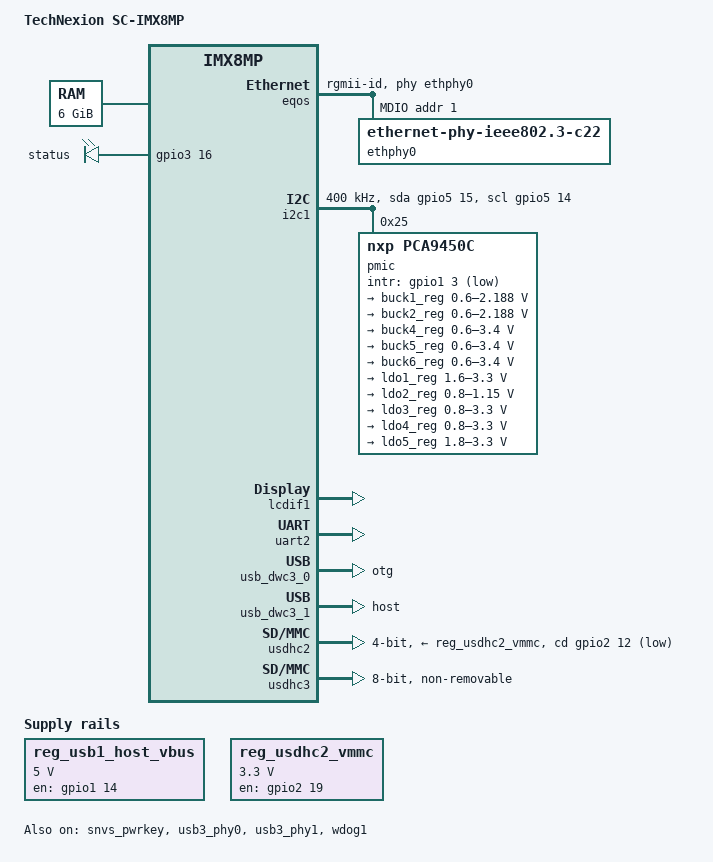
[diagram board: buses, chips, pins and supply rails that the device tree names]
// SPDX-License-Identifier: (GPL-2.0+ OR MIT)
/*
 * Copyright 2019 NXP
 */

/dts-v1/;

#include <dt-bindings/usb/pd.h>
#include "imx8mp.dtsi"

/ {
	model = "TechNexion SC-IMX8MP";
	compatible = "fsl,imx8mp-sc", "fsl,imx8mp";

	chosen {
		bootargs = "console=ttymxc1,115200 earlycon=ec_imx6q,0x30890000,115200";
		stdout-path = &uart2;
	};

	memory@40000000 {
		device_type = "memory";
		reg = <0x0 0x40000000 0 0xc0000000>,
		      <0x1 0x00000000 0 0xc0000000>;
	};

	leds {
		compatible = "gpio-leds";
		pinctrl-names = "default";
		pinctrl-0 = <&pinctrl_gpio_led>;

		status {
			label = "status";
			gpios = <&gpio3 16 GPIO_ACTIVE_HIGH>;
			default-state = "on"; /* LED GREEN */
		};
	};

	reg_usb1_host_vbus: regulator-usb1-vbus {
		compatible = "regulator-fixed";
		regulator-name = "usb1_host_vbus";
		pinctrl-names = "default";
		pinctrl-0 = <&pinctrl_usb1_vbus>;
		regulator-min-microvolt = <5000000>;
		regulator-max-microvolt = <5000000>;
		gpio = <&gpio1 14 GPIO_ACTIVE_HIGH>;
		enable-active-high;
		regulator-always-on;
	};

	reg_usdhc2_vmmc: regulator-usdhc2 {
		compatible = "regulator-fixed";
		pinctrl-names = "default";
		pinctrl-0 = <&pinctrl_reg_usdhc2_vmmc>;
		regulator-name = "VSD_3V3";
		regulator-min-microvolt = <3300000>;
		regulator-max-microvolt = <3300000>;
		gpio = <&gpio2 19 GPIO_ACTIVE_HIGH>;
		enable-active-high;
		startup-delay-us = <100>;
		off-on-delay-us = <12000>;
	};
	
	dsi_host: dsi-host {
		compatible = "samsung,sec-mipi-dsi";
		status = "disabled";
	};
};

&eqos {
	pinctrl-names = "default";
	pinctrl-0 = <&pinctrl_eqos>;
	phy-mode = "rgmii-id";
	phy-handle = <&ethphy0>;
	status = "okay";

	mdio {
		compatible = "snps,dwmac-mdio";
		#address-cells = <1>;
		#size-cells = <0>;

		ethphy0: ethernet-phy@1 {
			compatible = "ethernet-phy-ieee802.3-c22";
			reg = <1>;
			at803x,eee-disabled;
			at803x,vddio-1p8v;
		};
	};
};

&i2c1 {
	clock-frequency = <400000>;
	pinctrl-names = "default", "gpio";
	pinctrl-0 = <&pinctrl_i2c1>;
	pinctrl-1 = <&pinctrl_i2c1_gpio>;
	scl-gpios = <&gpio5 14 GPIO_ACTIVE_HIGH>;
	sda-gpios = <&gpio5 15 GPIO_ACTIVE_HIGH>;
	status = "okay";

	pmic: pca9450@25 {
		reg = <0x25>;
		compatible = "nxp,pca9450c";
		/* PMIC PCA9450 PMIC_nINT GPIO1_IO3 */
		pinctrl-0 = <&pinctrl_pmic>;
		gpio_intr = <&gpio1 3 GPIO_ACTIVE_LOW>;

		regulators {
			#address-cells = <1>;
			#size-cells = <0>;

			pca9450,pmic-buck2-uses-i2c-dvs;
			/* Run/Standby voltage */
			pca9450,pmic-buck2-dvs-voltage = <950000>, <850000>;

			buck1_reg: regulator@0 {
				reg = <0>;
				regulator-compatible = "buck1";
				regulator-min-microvolt = <600000>;
				regulator-max-microvolt = <2187500>;
				regulator-boot-on;
				regulator-always-on;
				regulator-ramp-delay = <3125>;
			};

			buck2_reg: regulator@1 {
				reg = <1>;
				regulator-compatible = "buck2";
				regulator-min-microvolt = <600000>;
				regulator-max-microvolt = <2187500>;
				regulator-boot-on;
				regulator-always-on;
				regulator-ramp-delay = <3125>;
			};

			buck4_reg: regulator@3 {
				reg = <3>;
				regulator-compatible = "buck4";
				regulator-min-microvolt = <600000>;
				regulator-max-microvolt = <3400000>;
				regulator-boot-on;
				regulator-always-on;
			};

			buck5_reg: regulator@4 {
				reg = <4>;
				regulator-compatible = "buck5";
				regulator-min-microvolt = <600000>;
				regulator-max-microvolt = <3400000>;
				regulator-boot-on;
				regulator-always-on;
			};

			buck6_reg: regulator@5 {
				reg = <5>;
				regulator-compatible = "buck6";
				regulator-min-microvolt = <600000>;
				regulator-max-microvolt = <3400000>;
				regulator-boot-on;
				regulator-always-on;
			};

			ldo1_reg: regulator@6 {
				reg = <6>;
				regulator-compatible = "ldo1";
				regulator-min-microvolt = <1600000>;
				regulator-max-microvolt = <3300000>;
				regulator-boot-on;
				regulator-always-on;
			};

			ldo2_reg: regulator@7 {
				reg = <7>;
				regulator-compatible = "ldo2";
				regulator-min-microvolt = <800000>;
				regulator-max-microvolt = <1150000>;
				regulator-boot-on;
				regulator-always-on;
			};

			ldo3_reg: regulator@8 {
				reg = <8>;
				regulator-compatible = "ldo3";
				regulator-min-microvolt = <800000>;
				regulator-max-microvolt = <3300000>;
				regulator-boot-on;
				regulator-always-on;
			};

			ldo4_reg: regulator@9 {
				reg = <9>;
				regulator-compatible = "ldo4";
				regulator-min-microvolt = <800000>;
				regulator-max-microvolt = <3300000>;
				regulator-boot-on;
				regulator-always-on;
			};

			ldo5_reg: regulator@10 {
				reg = <10>;
				regulator-compatible = "ldo5";
				regulator-min-microvolt = <1800000>;
				regulator-max-microvolt = <3300000>;
			};
		};
	};
};

&i2c2 {
	clock-frequency = <400000>;
	pinctrl-names = "default", "gpio";
	pinctrl-0 = <&pinctrl_i2c2>;
	pinctrl-1 = <&pinctrl_i2c2_gpio>;
	scl-gpios = <&gpio5 16 GPIO_ACTIVE_HIGH>;
	sda-gpios = <&gpio5 17 GPIO_ACTIVE_HIGH>;
	status = "disabled";
};

&i2c3 {
	clock-frequency = <100000>;
	pinctrl-names = "default", "gpio";
	pinctrl-0 = <&pinctrl_i2c3>;
	pinctrl-1 = <&pinctrl_i2c3_gpio>;
	scl-gpios = <&gpio5 18 GPIO_ACTIVE_HIGH>;
	sda-gpios = <&gpio5 19 GPIO_ACTIVE_HIGH>;
	status = "disabled";
};

&lcdif1 {
	status = "okay";
};

&mipi_dsi {
	status = "disabled";
};

&snvs_pwrkey {
	status = "okay";
};

&uart2 {
	/* console */
	pinctrl-names = "default";
	pinctrl-0 = <&pinctrl_uart2>;
	status = "okay";
};

&usb3_phy0 {
	status = "okay";
};

&usb_dwc3_0 {
	dr_mode = "otg";
	hnp-disable;
	srp-disable;
	adp-disable;
	usb-role-switch;
	status = "okay";
};

&usb3_phy1 {
	status = "okay";
};

&usb_dwc3_1 {
	dr_mode = "host";
	status = "okay";
};

&usdhc2 {
	pinctrl-names = "default", "state_100mhz", "state_200mhz";
	pinctrl-0 = <&pinctrl_usdhc2>, <&pinctrl_usdhc2_gpio>;
	pinctrl-1 = <&pinctrl_usdhc2_100mhz>, <&pinctrl_usdhc2_gpio>;
	pinctrl-2 = <&pinctrl_usdhc2_200mhz>, <&pinctrl_usdhc2_gpio>;
	cd-gpios = <&gpio2 12 GPIO_ACTIVE_LOW>;
	vmmc-supply = <&reg_usdhc2_vmmc>;
	bus-width = <4>;
	status = "okay";
};

&usdhc3 {
	pinctrl-names = "default", "state_100mhz", "state_200mhz";
	pinctrl-0 = <&pinctrl_usdhc3>;
	pinctrl-1 = <&pinctrl_usdhc3_100mhz>;
	pinctrl-2 = <&pinctrl_usdhc3_200mhz>;
	bus-width = <8>;
	non-removable;
	status = "okay";
};

&wdog1 {
	pinctrl-names = "default";
	pinctrl-0 = <&pinctrl_wdog>;
	fsl,ext-reset-output;
	status = "okay";
};

&iomuxc {
	pinctrl-names = "default";

	pinctrl_eqos: eqosgrp {
		fsl,pins = <
			MX8MP_IOMUXC_ENET_MDC__ENET_QOS_MDC	0x3
			MX8MP_IOMUXC_ENET_MDIO__ENET_QOS_MDIO	0x3
			MX8MP_IOMUXC_ENET_RD0__ENET_QOS_RGMII_RD0	0x91
			MX8MP_IOMUXC_ENET_RD1__ENET_QOS_RGMII_RD1	0x91
			MX8MP_IOMUXC_ENET_RD2__ENET_QOS_RGMII_RD2	0x91
			MX8MP_IOMUXC_ENET_RD3__ENET_QOS_RGMII_RD3	0x91
			MX8MP_IOMUXC_ENET_RXC__CCM_ENET_QOS_CLOCK_GENERATE_RX_CLK	0x91
			MX8MP_IOMUXC_ENET_RX_CTL__ENET_QOS_RGMII_RX_CTL	0x91
			MX8MP_IOMUXC_ENET_TD0__ENET_QOS_RGMII_TD0		0x1f
			MX8MP_IOMUXC_ENET_TD1__ENET_QOS_RGMII_TD1		0x1f
			MX8MP_IOMUXC_ENET_TD2__ENET_QOS_RGMII_TD2		0x1f
			MX8MP_IOMUXC_ENET_TD3__ENET_QOS_RGMII_TD3		0x1f
			MX8MP_IOMUXC_ENET_TX_CTL__ENET_QOS_RGMII_TX_CTL	0x1f
			MX8MP_IOMUXC_ENET_TXC__CCM_ENET_QOS_CLOCK_GENERATE_TX_CLK	0x1f
			MX8MP_IOMUXC_SAI5_RXD1__GPIO3_IO22		0x19
			MX8MP_IOMUXC_SAI5_RXD2__GPIO3_IO23		0x19
		>;
	};

	pinctrl_gpio_led: gpioledgrp {
		fsl,pins = <
			MX8MP_IOMUXC_NAND_READY_B__GPIO3_IO16	0x19
		>;
	};

	pinctrl_i2c1: i2c1grp {
		fsl,pins = <
			MX8MP_IOMUXC_SD1_DATA4__I2C1_SCL		0x400001c3
			MX8MP_IOMUXC_SD1_DATA5__I2C1_SDA		0x400001c3
		>;
	};

	pinctrl_i2c2: i2c2grp {
		fsl,pins = <
			MX8MP_IOMUXC_I2C2_SCL__I2C2_SCL			0x400001c3
			MX8MP_IOMUXC_I2C2_SDA__I2C2_SDA			0x400001c3
		>;
	};

	pinctrl_i2c3: i2c3grp {
		fsl,pins = <
			MX8MP_IOMUXC_I2C3_SCL__I2C3_SCL			0x400001c3
			MX8MP_IOMUXC_I2C3_SDA__I2C3_SDA			0x400001c3
		>;
	};

	pinctrl_i2c1_gpio: i2c1grp-gpio {
		fsl,pins = <
			MX8MP_IOMUXC_SD1_DATA4__GPIO2_IO06        	0x1c3
			MX8MP_IOMUXC_SD1_DATA5__GPIO2_IO07        	0x1c3
		>;
	};

	pinctrl_i2c2_gpio: i2c2grp-gpio {
		fsl,pins = <
			MX8MP_IOMUXC_I2C2_SCL__GPIO5_IO16        	0x1c3
			MX8MP_IOMUXC_I2C2_SDA__GPIO5_IO17        	0x1c3
		>;
	};

	pinctrl_i2c3_gpio: i2c3grp-gpio {
		fsl,pins = <
			MX8MP_IOMUXC_I2C3_SCL__GPIO5_IO18        	0x1c3
			MX8MP_IOMUXC_I2C3_SDA__GPIO5_IO19        	0x1c3
		>;
	};

	pinctrl_pmic: pmicirq {
		fsl,pins = <
			MX8MP_IOMUXC_GPIO1_IO03__GPIO1_IO03	0x41
		>;
	};

	pinctrl_typec: typec1grp {
		fsl,pins = <
			MX8MP_IOMUXC_SAI1_TXD7__GPIO4_IO19	0x1c4
		>;
	};

	pinctrl_typec_mux: typec1muxgrp {
		fsl,pins = <
			MX8MP_IOMUXC_SAI1_MCLK__GPIO4_IO20	0x16
		>;
	};

	pinctrl_reg_usdhc2_vmmc: regusdhc2vmmc {
		fsl,pins = <
			MX8MP_IOMUXC_SD2_RESET_B__GPIO2_IO19	0x41
		>;
	};

	pinctrl_uart2: uart2grp {
		fsl,pins = <
			MX8MP_IOMUXC_UART2_RXD__UART2_DCE_RX	0x49
			MX8MP_IOMUXC_UART2_TXD__UART2_DCE_TX	0x49
		>;
	};

	pinctrl_usb1_vbus: usb1grp {
		fsl,pins = <
			MX8MP_IOMUXC_GPIO1_IO14__GPIO1_IO14	0x19
		>;
	};

	pinctrl_usdhc2: usdhc2grp {
		fsl,pins = <
			MX8MP_IOMUXC_SD2_CLK__USDHC2_CLK	0x190
			MX8MP_IOMUXC_SD2_CMD__USDHC2_CMD	0x1d0
			MX8MP_IOMUXC_SD2_DATA0__USDHC2_DATA0	0x1d0
			MX8MP_IOMUXC_SD2_DATA1__USDHC2_DATA1	0x1d0
			MX8MP_IOMUXC_SD2_DATA2__USDHC2_DATA2	0x1d0
			MX8MP_IOMUXC_SD2_DATA3__USDHC2_DATA3	0x1d0
			MX8MP_IOMUXC_GPIO1_IO04__USDHC2_VSELECT	0xc1
		>;
	};

	pinctrl_usdhc2_100mhz: usdhc2grp-100mhz {
		fsl,pins = <
			MX8MP_IOMUXC_SD2_CLK__USDHC2_CLK	0x194
			MX8MP_IOMUXC_SD2_CMD__USDHC2_CMD	0x1d4
			MX8MP_IOMUXC_SD2_DATA0__USDHC2_DATA0	0x1d4
			MX8MP_IOMUXC_SD2_DATA1__USDHC2_DATA1	0x1d4
			MX8MP_IOMUXC_SD2_DATA2__USDHC2_DATA2	0x1d4
			MX8MP_IOMUXC_SD2_DATA3__USDHC2_DATA3	0x1d4
			MX8MP_IOMUXC_GPIO1_IO04__USDHC2_VSELECT 0xc1
		>;
	};

	pinctrl_usdhc2_200mhz: usdhc2grp-200mhz {
		fsl,pins = <
			MX8MP_IOMUXC_SD2_CLK__USDHC2_CLK	0x196
			MX8MP_IOMUXC_SD2_CMD__USDHC2_CMD	0x1d6
			MX8MP_IOMUXC_SD2_DATA0__USDHC2_DATA0	0x1d6
			MX8MP_IOMUXC_SD2_DATA1__USDHC2_DATA1	0x1d6
			MX8MP_IOMUXC_SD2_DATA2__USDHC2_DATA2	0x1d6
			MX8MP_IOMUXC_SD2_DATA3__USDHC2_DATA3	0x1d6
			MX8MP_IOMUXC_GPIO1_IO04__USDHC2_VSELECT 0xc1
		>;
	};

	pinctrl_usdhc2_gpio: usdhc2grp-gpio {
		fsl,pins = <
			MX8MP_IOMUXC_SD2_CD_B__GPIO2_IO12	0x1c4
		>;
	};

	pinctrl_usdhc3: usdhc3grp {
		fsl,pins = <
			MX8MP_IOMUXC_NAND_WE_B__USDHC3_CLK	0x190
			MX8MP_IOMUXC_NAND_WP_B__USDHC3_CMD	0x1d0
			MX8MP_IOMUXC_NAND_DATA04__USDHC3_DATA0	0x1d0
			MX8MP_IOMUXC_NAND_DATA05__USDHC3_DATA1	0x1d0
			MX8MP_IOMUXC_NAND_DATA06__USDHC3_DATA2	0x1d0
			MX8MP_IOMUXC_NAND_DATA07__USDHC3_DATA3	0x1d0
			MX8MP_IOMUXC_NAND_RE_B__USDHC3_DATA4	0x1d0
			MX8MP_IOMUXC_NAND_CE2_B__USDHC3_DATA5	0x1d0
			MX8MP_IOMUXC_NAND_CE3_B__USDHC3_DATA6	0x1d0
			MX8MP_IOMUXC_NAND_CLE__USDHC3_DATA7	0x1d0
			MX8MP_IOMUXC_NAND_CE1_B__USDHC3_STROBE	0x190
		>;
	};

	pinctrl_usdhc3_100mhz: usdhc3grp-100mhz {
		fsl,pins = <
			MX8MP_IOMUXC_NAND_WE_B__USDHC3_CLK	0x194
			MX8MP_IOMUXC_NAND_WP_B__USDHC3_CMD	0x1d4
			MX8MP_IOMUXC_NAND_DATA04__USDHC3_DATA0	0x1d4
			MX8MP_IOMUXC_NAND_DATA05__USDHC3_DATA1	0x1d4
			MX8MP_IOMUXC_NAND_DATA06__USDHC3_DATA2	0x1d4
			MX8MP_IOMUXC_NAND_DATA07__USDHC3_DATA3	0x1d4
			MX8MP_IOMUXC_NAND_RE_B__USDHC3_DATA4	0x1d4
			MX8MP_IOMUXC_NAND_CE2_B__USDHC3_DATA5	0x1d4
			MX8MP_IOMUXC_NAND_CE3_B__USDHC3_DATA6	0x1d4
			MX8MP_IOMUXC_NAND_CLE__USDHC3_DATA7	0x1d4
			MX8MP_IOMUXC_NAND_CE1_B__USDHC3_STROBE	0x194
		>;
	};

	pinctrl_usdhc3_200mhz: usdhc3grp-200mhz {
		fsl,pins = <
			MX8MP_IOMUXC_NAND_WE_B__USDHC3_CLK	0x196
			MX8MP_IOMUXC_NAND_WP_B__USDHC3_CMD	0x1d6
			MX8MP_IOMUXC_NAND_DATA04__USDHC3_DATA0	0x1d6
			MX8MP_IOMUXC_NAND_DATA05__USDHC3_DATA1	0x1d6
			MX8MP_IOMUXC_NAND_DATA06__USDHC3_DATA2	0x1d6
			MX8MP_IOMUXC_NAND_DATA07__USDHC3_DATA3	0x1d6
			MX8MP_IOMUXC_NAND_RE_B__USDHC3_DATA4	0x1d6
			MX8MP_IOMUXC_NAND_CE2_B__USDHC3_DATA5	0x1d6
			MX8MP_IOMUXC_NAND_CE3_B__USDHC3_DATA6	0x1d6
			MX8MP_IOMUXC_NAND_CLE__USDHC3_DATA7	0x1d6
			MX8MP_IOMUXC_NAND_CE1_B__USDHC3_STROBE	0x196
		>;
	};

	pinctrl_wdog: wdoggrp {
		fsl,pins = <
			MX8MP_IOMUXC_GPIO1_IO02__WDOG1_WDOG_B	0xc6
		>;
	};
};
